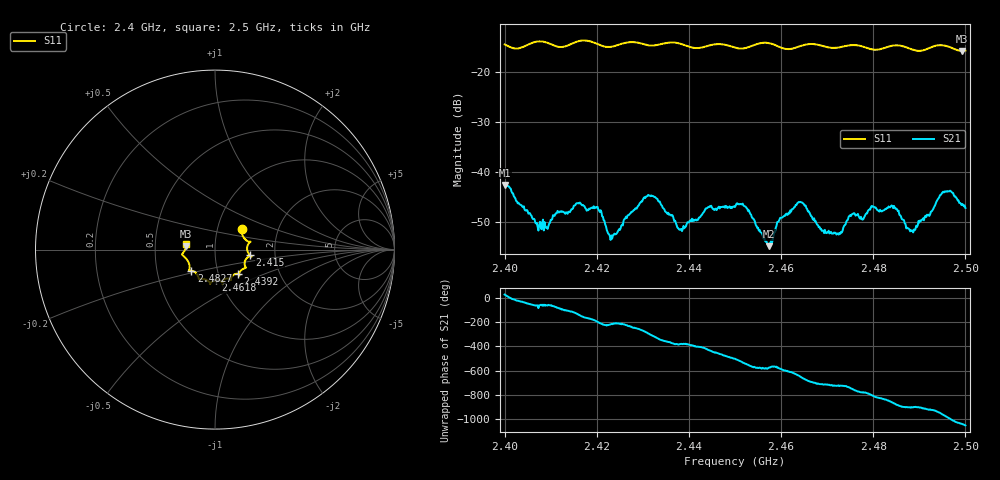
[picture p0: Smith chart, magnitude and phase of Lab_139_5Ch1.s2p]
# Hz S RI R 50
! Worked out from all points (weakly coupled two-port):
!   601 points, 2.4 GHz to 2.5 GHz, reference 50 ohm
!   highest |S21| = -42.64 dB at 2.4 GHz (marker M1); lowest = -54.9 dB at 2.4573 GHz (marker M2)
!   lowest |S11| = -15.7 dB at 2.4993 GHz (marker M3), VSWR 1.39, Z = 36 + j1.43 ohm
!   |S11| at or under -10 dB: start of sweep to end of sweep
!   S12 and S22 are empty: the file has one direction only
!   S11 on the Smith chart (normalised r, x): 2.4 GHz: 1.31, +0.31; 2.415 GHz: 1.48, -0.10; 2.4392 GHz: 1.24, -0.35; 2.4618 GHz: 0.95, -0.34; 2.4827 GHz: 0.75, -0.18; 2.5 GHz: 0.72, +0.05
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2.4e9  0.1507 0.115  0.00665 0.0032  0 0  0 0
2.4075e9  0.1989 0.0441  0.00129 -0.00259  0 0  0 0
2.415e9  0.194 -0.0317  -0.00232 -0.00393  0 0  0 0
2.416667e9  0.2038 -0.0388  -0.00418 -0.00218  0 0  0 0
2.4205e9  0.1842 -0.0417  -0.00371 0.00178  0 0  0 0
2.423167e9  0.1652 -0.071  -0.00187 0.00136  0 0  0 0
2.430667e9  0.1536 -0.1093  0.00136 0.0055  0 0  0 0
2.433333e9  0.1356 -0.1308  0.00467 0.00207  0 0  0 0
2.439167e9  0.1275 -0.1354  0.00264 -0.000968  0 0  0 0
2.45e9  0.0718 -0.1613  -0.00348 -0.00277  0 0  0 0
2.457333e9  0.0448 -0.1909  -0.00149 0.00102  0 0  0 0
2.461833e9  0.00587 -0.1705  -0.00137 0.00358  0 0  0 0
2.464333e9  -0.0221 -0.1826  0.00187 0.00461  0 0  0 0
2.466667e9  -0.0269 -0.1898  0.00316 0.00166  0 0  0 0
2.472333e9  -0.0639 -0.1642  0.00242 -9.92e-05  0 0  0 0
2.475333e9  -0.0869 -0.1656  0.00332 -0.00173  0 0  0 0
2.482667e9  -0.1317 -0.1174  -0.00191 -0.00382  0 0  0 0
2.483333e9  -0.1374 -0.117  -0.00259 -0.00368  0 0  0 0
2.4885e9  -0.1417 -0.0913  -0.00259 3.91e-05  0 0  0 0
2.495333e9  -0.1834 -0.0258  -0.00252 0.00569  0 0  0 0
2.499333e9  -0.1621 0.0193  0.00357 0.00318  0 0  0 0
2.5e9  -0.1618 0.0315  0.00375 0.00221  0 0  0 0
